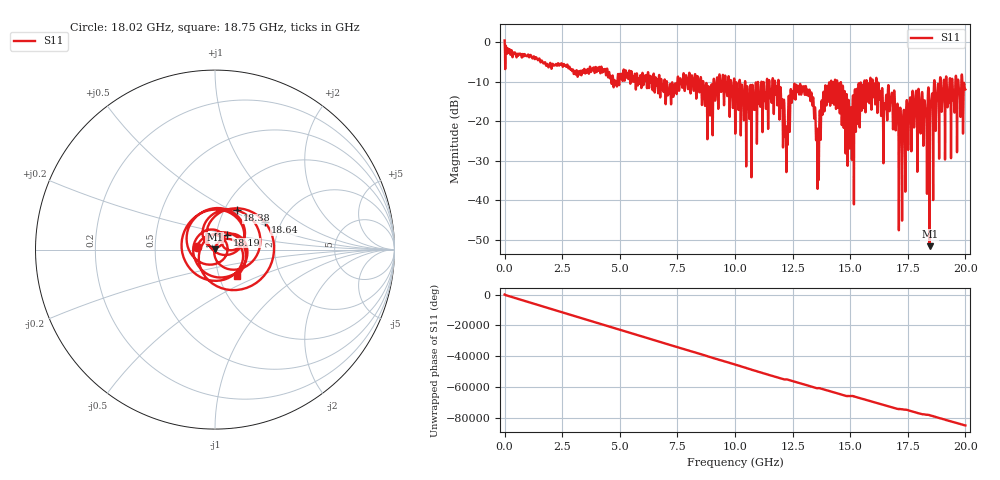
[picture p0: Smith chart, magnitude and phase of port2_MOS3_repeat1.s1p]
! MS46122B
! 2250307/22442219
! 7/28/2025 8:06:56 AM
! C:\USERS\SPARKY\DOCUMENTS\VNA_DATA\JULY28_2025\295K\PORT2_MOS3_REPEAT1.S1P
! CHANNEL.1
! TR.MEASUREMENT
! RAW.DATA
# GHZ S RI R 50.0
! FREQ.GHZ  S11RE  S11IM
!; PortSelection: Port_1
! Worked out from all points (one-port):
!   10001 points, 1 MHz to 20 GHz, reference 50 ohm
!   lowest |S11| = -51.7 dB at 18.45 GHz (marker M1), VSWR 1.01, Z = 49.8 + j0.176 ohm
!   |S11| at or under -10 dB: 11.9 GHz to 14.17 GHz (2.272 GHz wide, 17.4 % of centre); 14.44 GHz to 15.61 GHz (1.179 GHz wide, 7.84 % of centre); 16.15 GHz to 18.64 GHz (2.494 GHz wide, 14.3 % of centre) (the widest 3 of 65)
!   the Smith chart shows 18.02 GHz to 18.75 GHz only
!   S11 on the Smith chart (normalised r, x): 18.02 GHz: 0.81, +0.03; 18.19 GHz: 1.13, +0.19; 18.38 GHz: 1.15, +0.54; 18.64 GHz: 1.65, +0.56; 18.75 GHz: 1.22, -0.37
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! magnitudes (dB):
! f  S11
! 1 MHz  0.4
! 2.501 GHz  -5.7
! 5.001 GHz  -8.4
! 7.501 GHz  -9.8
! 8.871 GHz  -12.6
! 9.399 GHz  -12.6
! 10 GHz  -16.3
! 10.64 GHz  -14.0
! 11.81 GHz  -11.4
! 12.22 GHz  -26.8
! 12.5 GHz  -12.4
! 13.31 GHz  -12.8
! 13.58 GHz  -35.3
! 14.01 GHz  -11.1
! 14.51 GHz  -10.5
! 15 GHz  -20.1
! 16.05 GHz  -10.6
! 16.52 GHz  -16.8
! 16.84 GHz  -17.7
! 17.19 GHz  -17.2
! 17.5 GHz  -21.4
! 18.02 GHz  -19.8
! 18.19 GHz  -19.3
! 18.38 GHz  -12.0
! 18.45 GHz  -51.7
! 18.64 GHz  -10.0
! 18.75 GHz  -14.3
! 20 GHz  -12.0
